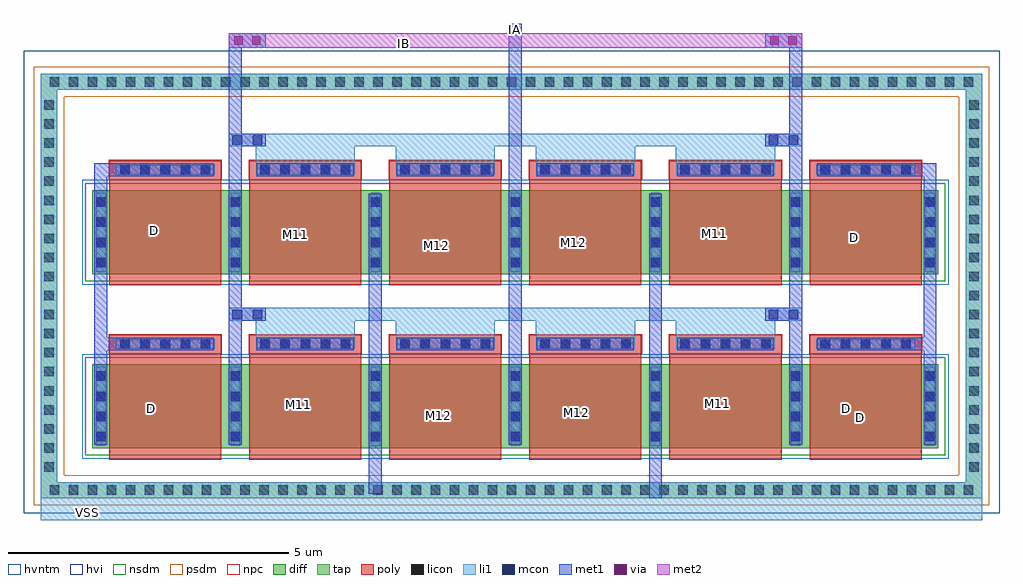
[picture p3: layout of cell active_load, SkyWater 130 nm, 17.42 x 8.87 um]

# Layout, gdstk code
from math import pi, radians
import gdstk
lib = gdstk.Library(unit=1e-6, precision=1e-09)
def R(c, l, rs):  # rectangles x0, y0, x1, y1
    for r in rs: c.add(gdstk.rectangle(r[:2], r[2:], *l))
def A(c, l, x, y, w, h, nx, ny, dx, dy):  # array of equal rectangles
    R(c, l, [(x+i*dx, y+j*dy, x+i*dx+w, y+j*dy+h) for i in range(nx) for j in range(ny)])
diff = (65, 20)
tap = (65, 44)
poly = (66, 20)
licon = (66, 44)
li1 = (67, 20)
mcon = (67, 44)
met1 = (68, 20)
via = (68, 44)
met2 = (69, 20)
hvi = (75, 20)
nsdm = (93, 44)
psdm = (94, 20)
npc = (95, 20)
hvntm = (125, 20)

nfet_3 = lib.new_cell('nfet$3')
R(nfet_3, diff, [(0,0,15.1,1.5)])
A(nfet_3, poly, 0.3, -0.2, 2, 1.9, 6, 1, 2.5, 0)
A(nfet_3, poly, 0.3, 1.7, 2, 0.33, 6, 1, 2.5, 0)
A(nfet_3, licon, 0.065, 0.125, 0.17, 0.17, 1, 4, 0, 0.36)
A(nfet_3, licon, 2.465, 0.125, 0.17, 0.17, 5, 4, 2.5, 0.36)
A(nfet_3, licon, 14.865, 0.125, 0.17, 0.17, 1, 4, 0, 0.36)
A(nfet_3, licon, 0.495, 1.78, 0.17, 0.17, 5, 1, 0.36, 0)
A(nfet_3, licon, 2.995, 1.78, 0.17, 0.17, 5, 1, 0.36, 0)
A(nfet_3, licon, 5.495, 1.78, 0.17, 0.17, 5, 1, 0.36, 0)
A(nfet_3, licon, 7.995, 1.78, 0.17, 0.17, 5, 1, 0.36, 0)
A(nfet_3, licon, 10.495, 1.78, 0.17, 0.17, 5, 1, 0.36, 0)
A(nfet_3, licon, 12.995, 1.78, 0.17, 0.17, 5, 1, 0.36, 0)
A(nfet_3, li1, 2.465, 0.045, 0.17, 1.41, 5, 1, 2.5, 0)
A(nfet_3, li1, 0.415, 1.78, 1.77, 0.17, 6, 1, 2.5, 0)
R(nfet_3, li1, [(0.065,0.045,0.235,1.455), (14.865,0.045,15.035,1.455)])
A(nfet_3, mcon, 0.065, 0.125, 0.17, 0.17, 1, 4, 0, 0.36)
A(nfet_3, mcon, 2.465, 0.125, 0.17, 0.17, 5, 4, 2.5, 0.36)
A(nfet_3, mcon, 14.865, 0.125, 0.17, 0.17, 1, 4, 0, 0.36)
A(nfet_3, mcon, 0.495, 1.78, 0.17, 0.17, 5, 1, 0.36, 0)
A(nfet_3, mcon, 2.995, 1.78, 0.17, 0.17, 5, 1, 0.36, 0)
A(nfet_3, mcon, 5.495, 1.78, 0.17, 0.17, 5, 1, 0.36, 0)
A(nfet_3, mcon, 7.995, 1.78, 0.17, 0.17, 5, 1, 0.36, 0)
A(nfet_3, mcon, 10.495, 1.78, 0.17, 0.17, 5, 1, 0.36, 0)
A(nfet_3, mcon, 12.995, 1.78, 0.17, 0.17, 5, 1, 0.36, 0)
A(nfet_3, met1, 2.435, 0.065, 0.23, 1.37, 5, 1, 2.5, 0)
A(nfet_3, met1, 0.435, 1.75, 1.73, 0.23, 6, 1, 2.5, 0)
R(nfet_3, met1, [(0.035,0.065,0.265,1.435), (14.835,0.065,15.065,1.435)])
R(nfet_3, hvi, [(-0.37,-0.385,15.47,2.225)])
R(nfet_3, nsdm, [(-0.125,-0.125,15.225,1.625)])
A(nfet_3, npc, 0.29, 1.69, 2.02, 0.35, 6, 1, 2.5, 0)
R(nfet_3, hvntm, [(-0.185,-0.185,15.285,1.685)])

vias_gen_6 = lib.new_cell('vias_gen$6')
R(vias_gen_6, li1, [(0,0,0.66,0.23)])
R(vias_gen_6, mcon, [(0.065,0.03,0.235,0.2), (0.425,0.03,0.595,0.2)])
R(vias_gen_6, met1, [(0,0,0.66,0.23)])

vias_gen_31 = lib.new_cell('vias_gen$31')
R(vias_gen_31, tap, [(0,0,7,0.29)])
A(vias_gen_31, licon, 0.185, 0.06, 0.17, 0.17, 20, 1, 0.34, 0)
R(vias_gen_31, li1, [(0,0,7,0.29)])
R(vias_gen_31, psdm, [(-0.125,-0.125,7.125,0.415)])

vias_gen_32 = lib.new_cell('vias_gen$32')
R(vias_gen_32, tap, [(0,0,16.8,0.29)])
A(vias_gen_32, licon, 0.155, 0.06, 0.17, 0.17, 49, 1, 0.34, 0)
R(vias_gen_32, li1, [(0,0,16.8,0.29)])
R(vias_gen_32, psdm, [(-0.125,-0.125,16.925,0.415)])

vias_gen_19 = lib.new_cell('vias_gen$19')
R(vias_gen_19, met1, [(0,0,0.66,0.26)])
R(vias_gen_19, via, [(0.095,0.055,0.245,0.205), (0.415,0.055,0.565,0.205)])
R(vias_gen_19, met2, [(0,0,0.66,0.26)])

active_load = lib.new_cell('active_load')
A(active_load, li1, 44.79, 48.325, 1.77, 0.56, 4, 2, 2.5, 3.11)
R(active_load, li1, [(40.955,45.09,57.755,45.775), (44.97,48.655,54.28,48.885), (44.97,51.765,54.28,51.995)])
R(active_load, met1, [(51.81,45.485,52.04,49.55), (46.81,45.57,47.04,49.55), (41.91,47.81,42.14,51.375), (44.31,47.81,44.54,48.755), (49.31,47.81,49.54,53.96), (54.31,47.81,54.54,48.755), (56.71,47.81,56.94,50.92), (41.91,48.125,42.31,48.355), (56.44,48.125,56.94,48.355), (54.31,48.6,54.54,49.55), (44.31,48.685,44.54,49.55), (44.31,50.92,44.54,53.755), (54.31,50.92,54.54,53.665), (56.71,50.92,56.94,51.465), (41.91,51.235,42.31,51.465), (56.44,51.235,56.94,51.465)])
R(active_load, met2, [(44.97,53.525,54.31,53.785)])
R(active_load, hvi, [(40.645,45.215,58.065,53.475)])
active_load.add(gdstk.Reference(nfet_3, (41.875,49.485)))
active_load.add(gdstk.Reference(nfet_3, (41.875,46.375)))
active_load.add(gdstk.Reference(vias_gen_6, (44.31,51.765)))
active_load.add(gdstk.Reference(vias_gen_6, (54.54,51.765), rotation=pi, x_reflection=True))
active_load.add(gdstk.Reference(vias_gen_6, (44.31,48.655)))
active_load.add(gdstk.Reference(vias_gen_6, (54.54,48.655), rotation=pi, x_reflection=True))
active_load.add(gdstk.Reference(vias_gen_31, (40.955,52.775), rotation=3*pi/2))
active_load.add(gdstk.Reference(vias_gen_32, (57.755,45.775), rotation=pi))
active_load.add(gdstk.Reference(vias_gen_31, (57.465,52.775), rotation=3*pi/2))
active_load.add(gdstk.Reference(vias_gen_19, (44.31,53.525)))
active_load.add(gdstk.Reference(vias_gen_19, (53.88,53.525)))
active_load.add(gdstk.Reference(vias_gen_32, (57.755,53.065), rotation=pi))
active_load.add(gdstk.Label('VSS', (41.78,45.225), layer=67, texttype=16))
active_load.add(gdstk.Label('D', (55.47,50.135), layer=68, texttype=16))
active_load.add(gdstk.Label('D', (42.99,50.27), layer=68, texttype=16))
active_load.add(gdstk.Label('D', (42.93,47.09), layer=68, texttype=16))
active_load.add(gdstk.Label('D', (55.585,46.92), layer=68, texttype=16))
active_load.add(gdstk.Label('M11', (45.55,47.16), layer=68, texttype=16))
active_load.add(gdstk.Label('M11', (45.505,50.195), layer=68, texttype=16))
active_load.add(gdstk.Label('M11', (53.025,47.18), layer=68, texttype=16))
active_load.add(gdstk.Label('M11', (52.98,50.215), layer=68, texttype=16))
active_load.add(gdstk.Label('M12', (48.06,46.955), layer=68, texttype=16))
active_load.add(gdstk.Label('M12', (48.015,49.99), layer=68, texttype=16))
active_load.add(gdstk.Label('M12', (50.51,47.01), layer=68, texttype=16))
active_load.add(gdstk.Label('M12', (50.465,50.045), layer=68, texttype=16))
active_load.add(gdstk.Label('D', (55.39,50.27), layer=68, texttype=16))
active_load.add(gdstk.Label('D', (55.33,47.09), layer=68, texttype=16))
active_load.add(gdstk.Label('IA', (49.4,53.85), layer=68, texttype=16))
active_load.add(gdstk.Label('IB', (47.425,53.61), layer=69, texttype=16))

lib.write_gds('active_load.gds')
